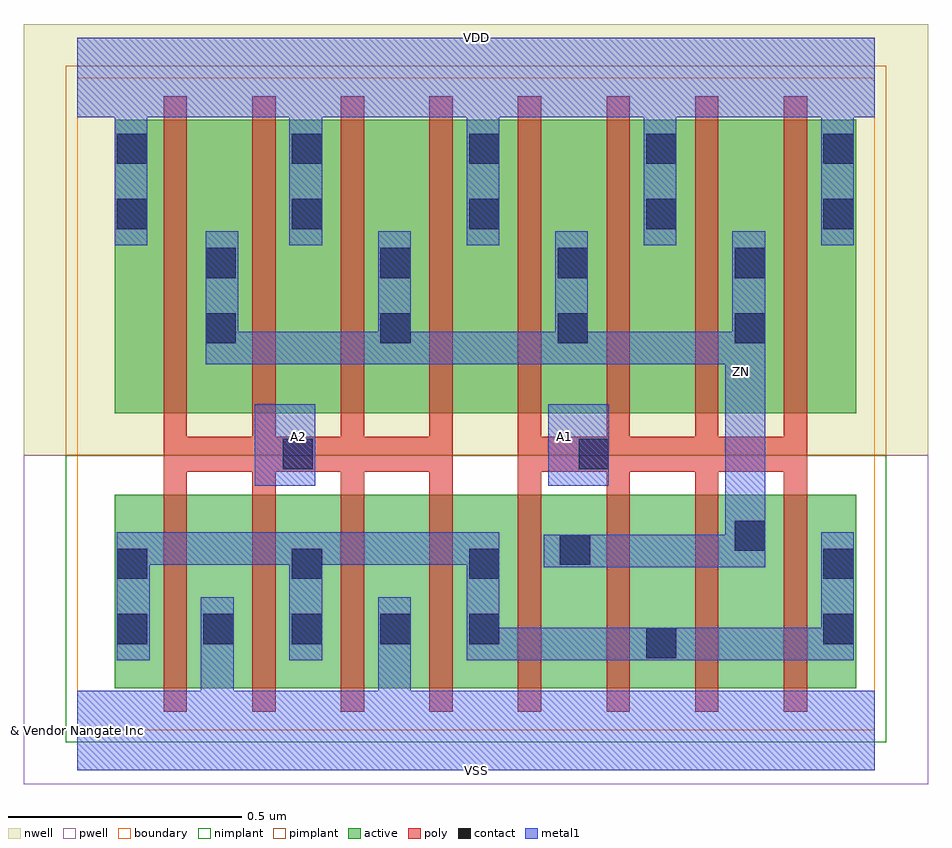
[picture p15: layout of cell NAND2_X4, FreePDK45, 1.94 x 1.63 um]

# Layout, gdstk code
import gdstk
lib = gdstk.Library(unit=1e-6, precision=1e-10)
def R(c, l, rs):  # rectangles x0, y0, x1, y1
    for r in rs: c.add(gdstk.rectangle(r[:2], r[2:], *l))
def A(c, l, x, y, w, h, nx, ny, dx, dy):  # array of equal rectangles
    R(c, l, [(x+i*dx, y+j*dy, x+i*dx+w, y+j*dy+h) for i in range(nx) for j in range(ny)])
def P(c, l, *ps):  # polygons
    for p in ps: c.add(gdstk.Polygon(p, *l))
active = (1, 0)
pwell = (2, 0)
nwell = (3, 0)
nimplant = (4, 0)
pimplant = (5, 0)
poly = (9, 0)
contact = (10, 0)
metal1 = (11, 0)
boundary = (235, 0)

nand2_x4 = lib.new_cell('NAND2_X4')
R(nand2_x4, active, [(0.08,0.09,1.67,0.505), (0.08,0.68,1.67,1.31)])
R(nand2_x4, pwell, [(-0.115,-0.115,1.825,0.59)])
R(nand2_x4, nwell, [(-0.115,0.59,1.825,1.515)])
R(nand2_x4, nimplant, [(-0.025,-0.025,1.735,0.59)])
R(nand2_x4, pimplant, [(-0.025,0.59,1.735,1.425)])
P(nand2_x4, poly, [(0.185,0.04),(0.185,1.36),(0.235,1.36),(0.235,0.63),(0.375,0.63),(0.375,1.36),(0.425,1.36),(0.425,0.63),(0.565,0.63),(0.565,1.36),(0.615,1.36),(0.615,0.63),(0.755,0.63),(0.755,1.36),(0.805,1.36),(0.805,0.04),(0.755,0.04),(0.755,0.555),(0.615,0.555),(0.615,0.04),(0.565,0.04),(0.565,0.555),(0.425,0.555),(0.425,0.04),(0.375,0.04),(0.375,0.555),(0.235,0.555),(0.235,0.04)],
  [(0.945,0.04),(0.945,1.36),(0.995,1.36),(0.995,0.63),(1.135,0.63),(1.135,1.36),(1.185,1.36),(1.185,0.63),(1.325,0.63),(1.325,1.36),(1.375,1.36),(1.375,0.63),(1.515,0.63),(1.515,1.36),(1.565,1.36),(1.565,0.04),(1.515,0.04),(1.515,0.555),(1.375,0.555),(1.375,0.04),(1.325,0.04),(1.325,0.555),(1.185,0.555),(1.185,0.04),(1.135,0.04),(1.135,0.555),(0.995,0.555),(0.995,0.04)])
A(nand2_x4, contact, 0.27, 0.185, 0.065, 0.065, 4, 1, 0.19, 0)
A(nand2_x4, contact, 0.65, 0.83, 0.065, 0.065, 3, 2, 0.38, 0.14)
A(nand2_x4, contact, 0.46, 1.075, 0.065, 0.065, 4, 2, 0.38, 0.14)
R(nand2_x4, contact, [(1.22,0.155,1.285,0.22), (0.085,0.185,0.15,0.25), (1.6,0.185,1.665,0.25), (0.085,0.325,0.15,0.39), (0.46,0.325,0.525,0.39), (0.84,0.325,0.905,0.39), (1.6,0.325,1.665,0.39), (1.035,0.355,1.1,0.42), (1.41,0.385,1.475,0.45), (0.44,0.56,0.505,0.625), (1.075,0.56,1.14,0.625), (0.275,0.83,0.34,0.895), (0.275,0.97,0.34,1.035), (0.085,1.075,0.15,1.14), (0.085,1.215,0.15,1.28)])
R(nand2_x4, metal1, [(0.38,0.525,0.51,0.7), (1.01,0.525,1.14,0.7)])
P(nand2_x4, metal1, [(1,0.35),(1,0.42),(1.39,0.42),(1.39,0.785),(0.275,0.785),(0.275,1.07),(0.345,1.07),(0.345,0.855),(0.645,0.855),(0.645,1.07),(0.715,1.07),(0.715,0.855),(1.025,0.855),(1.025,1.07),(1.095,1.07),(1.095,0.855),(1.405,0.855),(1.405,1.07),(1.475,1.07),(1.475,0.35)],
  [(0.085,0.15),(0.085,0.425),(0.905,0.425),(0.905,0.22),(1.595,0.22),(1.595,0.425),(1.665,0.425),(1.665,0.15),(0.835,0.15),(0.835,0.355),(0.525,0.355),(0.525,0.15),(0.455,0.15),(0.455,0.355),(0.155,0.355),(0.155,0.15)],
  [(0,-0.085),(0,0.085),(0.265,0.085),(0.265,0.285),(0.335,0.285),(0.335,0.085),(0.645,0.085),(0.645,0.285),(0.715,0.285),(0.715,0.085),(1.71,0.085),(1.71,-0.085)],
  [(0.08,1.04),(0.08,1.315),(0,1.315),(0,1.485),(1.71,1.485),(1.71,1.315),(1.665,1.315),(1.665,1.04),(1.595,1.04),(1.595,1.315),(1.285,1.315),(1.285,1.04),(1.215,1.04),(1.215,1.315),(0.905,1.315),(0.905,1.04),(0.835,1.04),(0.835,1.315),(0.525,1.315),(0.525,1.04),(0.455,1.04),(0.455,1.315),(0.15,1.315),(0.15,1.04)])
R(nand2_x4, boundary, [(0,0,1.71,1.4)])
nand2_x4.add(gdstk.Label('A1', (1.045,0.63), layer=11, texttype=0))
nand2_x4.add(gdstk.Label('A2', (0.475,0.63), layer=11, texttype=0))
nand2_x4.add(gdstk.Label('VDD', (0.855,1.485), layer=11, texttype=0))
nand2_x4.add(gdstk.Label('VSS', (0.855,-0.085), layer=11, texttype=0))
nand2_x4.add(gdstk.Label('ZN', (1.425,0.77), layer=11, texttype=0))
nand2_x4.add(gdstk.Label('& Vendor Nangate Inc', (0,0), layer=63, texttype=63))
nand2_x4.add(gdstk.Label('& Product Open Cell Library', (0,0), layer=63, texttype=63))
nand2_x4.add(gdstk.Label('& Version 2010_12', (0,0), layer=63, texttype=63))
nand2_x4.add(gdstk.Label('& Instance NAND2_X4', (0,0), layer=63, texttype=63))

lib.write_gds('NAND2_X4.gds')
